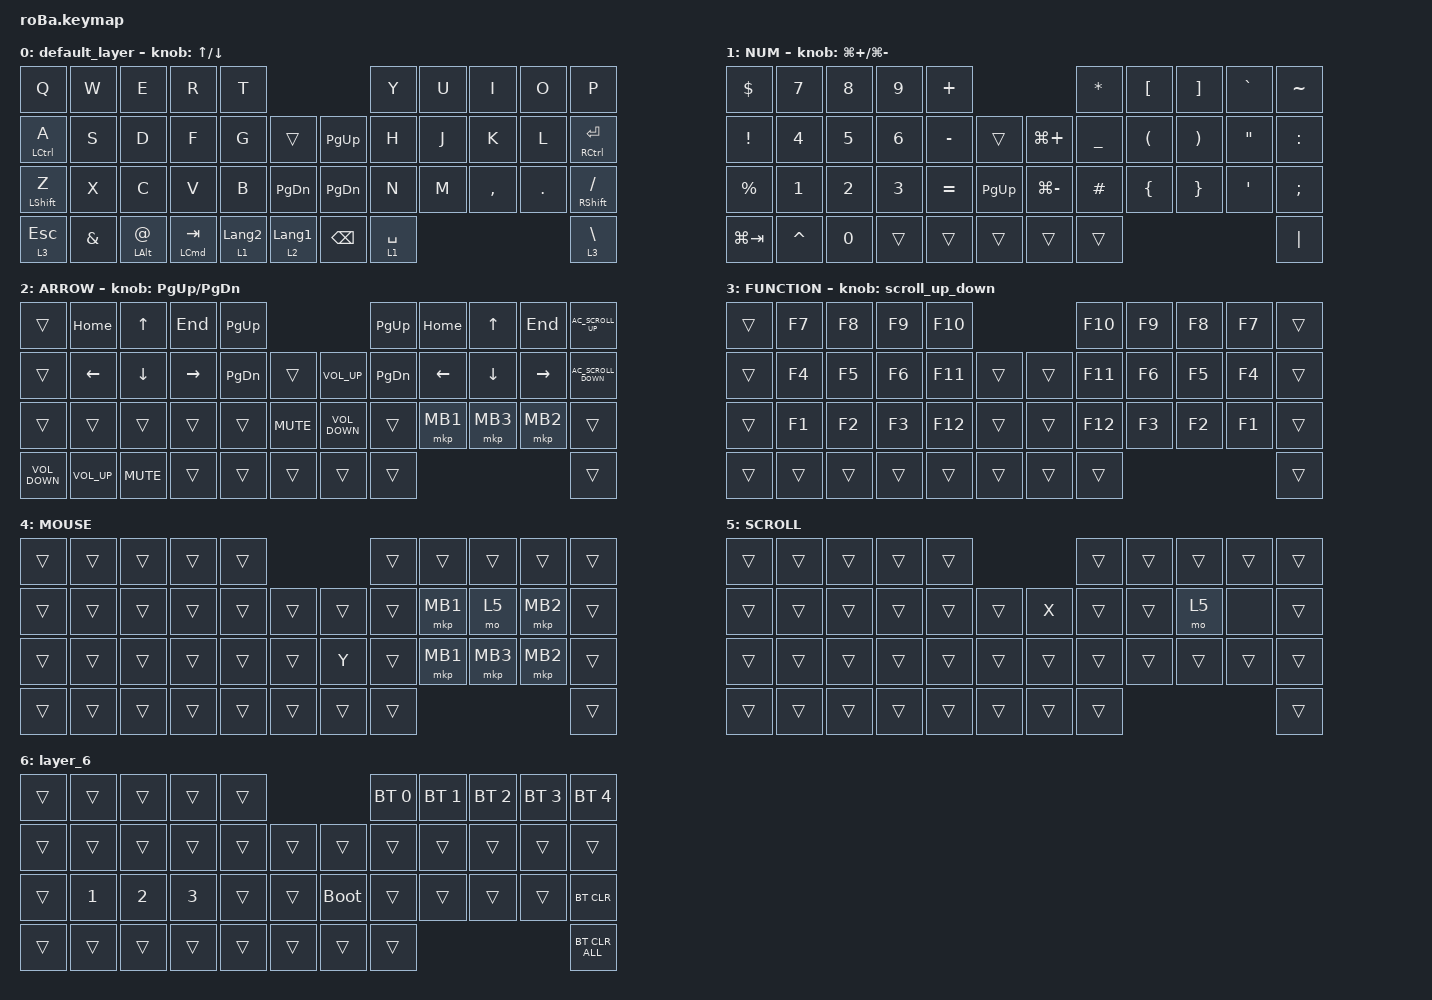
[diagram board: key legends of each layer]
#include <behaviors.dtsi>
#include <dt-bindings/zmk/bt.h>
#include <dt-bindings/zmk/keys.h>
#include <dt-bindings/zmk/pointing.h>

#define MOUSE 4
#define SCROLL 5
#define NUM 6

// #includeのあとのあたりにスクロール量を変更

#define ZMK_MOUSE_DEFAULT_SCRL_VAL 100

// 設定したいレイヤー

&mt {
    flavor = "balanced";
    quick-tap-ms = <0>;
};

/ {
    combos {
        compatible = "zmk,combos";

        tab {
            bindings = <&kp TAB>;
            key-positions = <11 12>;
        };

        shift_tab {
            bindings = <&kp LS(TAB)>;
            key-positions = <12 13>;
        };

        muhennkann {
            bindings = <&to_layer_0 INT_MUHENKAN>;
            key-positions = <11 10>;
        };

        double_quotation {
            bindings = <&kp DOUBLE_QUOTES>;
            key-positions = <20 21>;
        };

        eq {
            bindings = <&kp EQUAL>;
            key-positions = <24 25>;
        };

        emoji {
            bindings = <&kp LG(LC(SPACE))>;
            key-positions = <38 41>;
        };

        screenshot {
            bindings = <&kp LG(DOLLAR)>;
            key-positions = <39 40>;
        };
    };

    macros {
        to_layer_0: to_layer_0 {
            compatible = "zmk,behavior-macro-one-param";
            #binding-cells = <1>;
            bindings = <&to 0 &macro_param_1to1 &kp MACRO_PLACEHOLDER>;
            label = "TO_LAYER_0";
        };
    };

    behaviors {
        lt_to_layer_0: lt_to_layer_0 {
            compatible = "zmk,behavior-hold-tap";
            label = "LAYER_TAP_TO_0";
            bindings = <&mo>, <&to_layer_0>;

            #binding-cells = <2>;
            tapping-term-ms = <200>;
        };

        //  behaviors に追加
        // 新しいスクロール動作の追加

        scroll_up_down: behavior_sensor_rotate_mouse_wheel_up_down {
            compatible = "zmk,behavior-sensor-rotate";
            #sensor-binding-cells = <0>;
            bindings = <&msc SCRL_UP>, <&msc SCRL_DOWN>;

            // 追加: スクロールのタップ時間を設定 (20ms)

            tap-ms = <20>;
        };
    };

    keymap {
        compatible = "zmk,keymap";

        default_layer {
            bindings = <
&kp Q               &kp W          &kp E            &kp R                 &kp T                                                  &kp Y        &kp U  &kp I      &kp O    &kp P
&mt LEFT_CONTROL A  &kp S          &kp D            &kp F                 &kp G             &trans                &kp PAGE_UP    &kp H        &kp J  &kp K      &kp L    &mt RIGHT_CONTROL ENTER
&mt LEFT_SHIFT Z    &kp X          &kp C            &kp V                 &kp B             &kp PAGE_DOWN         &kp PAGE_DOWN  &kp N        &kp M  &kp COMMA  &kp DOT  &mt RIGHT_SHIFT SLASH
&lt 3 ESC           &kp AMPERSAND  &mt LEFT_ALT AT  &mt LEFT_COMMAND TAB  &lt 1 LANGUAGE_2  &lt 2 LANGUAGE_1      &kp BACKSPACE  &lt 1 SPACE                             &lt 3 BACKSLASH
            >;

            sensor-bindings = <&inc_dec_kp UP_ARROW DOWN_ARROW>;
        };

        NUM {
            bindings = <
&kp DOLLAR   &kp N7        &kp N8  &kp N9  &kp PLUS                                   &kp ASTRK       &kp LEFT_BRACKET      &kp RIGHT_BRACKET      &kp GRAVE          &kp TILDE
&kp EXCL     &kp N4        &kp N5  &kp N6  &kp MINUS  &trans           &kp LG(PLUS)   &kp UNDERSCORE  &kp LEFT_PARENTHESIS  &kp RIGHT_PARENTHESIS  &kp DOUBLE_QUOTES  &kp COLON
&kp PERCENT  &kp NUMBER_1  &kp N2  &kp N3  &kp EQUAL  &kp PAGE_UP      &kp LG(MINUS)  &kp HASH        &kp LEFT_BRACE        &kp RIGHT_BRACE        &kp SINGLE_QUOTE   &kp SEMICOLON
&kp LG(TAB)  &kp CARET     &kp N0  &trans  &trans     &trans           &trans         &trans                                                                          &kp PIPE
            >;

            sensor-bindings = <&inc_dec_kp LG(PLUS) LG(MINUS)>;
        };

        ARROW {
            bindings = <
&trans             &kp HOME         &kp UP_ARROW    &kp END          &kp PAGE_UP                                       &kp PAGE_UP    &kp HOME        &kp UP_ARROW  &kp END    &kp C_AC_SCROLL_UP
&trans             &kp LEFT_ARROW   &kp DOWN_ARROW  &kp RIGHT_ARROW  &kp PAGE_DOWN  &trans          &kp C_VOLUME_UP    &kp PAGE_DOWN  &kp LEFT_ARROW  &kp DOWN      &kp RIGHT  &kp C_AC_SCROLL_DOWN
&trans             &trans           &trans          &trans           &trans         &kp K_MUTE      &kp C_VOLUME_DOWN  &trans         &mkp MB1        &mkp MB3      &mkp MB2   &trans
&kp C_VOLUME_DOWN  &kp C_VOLUME_UP  &kp K_MUTE      &trans           &trans         &trans          &trans             &trans                                                  &trans
            >;

            sensor-bindings = <&inc_dec_kp PAGE_UP PAGE_DOWN>;
        };

        FUNCTION {
            bindings = <
&trans  &kp F7  &kp F8  &kp F9  &kp F10                      &kp F10  &kp F9  &kp F8  &kp F7  &trans
&trans  &kp F4  &kp F5  &kp F6  &kp F11  &trans      &trans  &kp F11  &kp F6  &kp F5  &kp F4  &trans
&trans  &kp F1  &kp F2  &kp F3  &kp F12  &trans      &trans  &kp F12  &kp F3  &kp F2  &kp F1  &trans
&trans  &trans  &trans  &trans  &trans   &trans      &trans  &trans                           &trans
            >;

            sensor-bindings = <&scroll_up_down>;
        };

        MOUSE {
            bindings = <
&trans  &trans  &trans  &trans  &trans                      &trans  &trans    &trans    &trans    &trans
&trans  &trans  &trans  &trans  &trans  &trans      &trans  &trans  &mkp MB1  &mo 5     &mkp MB2  &trans
&trans  &trans  &trans  &trans  &trans  &trans      &kp Y   &trans  &mkp MB1  &mkp MB3  &mkp MB2  &trans
&trans  &trans  &trans  &trans  &trans  &trans      &trans  &trans                                &trans
            >;
        };

        SCROLL {
            bindings = <
&trans  &trans  &trans  &trans  &trans                      &trans  &trans  &trans  &trans  &trans
&trans  &trans  &trans  &trans  &trans  &trans      &kp X   &trans  &trans  &mo 5   &none   &trans
&trans  &trans  &trans  &trans  &trans  &trans      &trans  &trans  &trans  &trans  &trans  &trans
&trans  &trans  &trans  &trans  &trans  &trans      &trans  &trans                          &trans
            >;
        };

        layer_6 {
            bindings = <
&trans  &trans        &trans        &trans        &trans                           &bt BT_SEL 0  &bt BT_SEL 1  &bt BT_SEL 2  &bt BT_SEL 3  &bt BT_SEL 4
&trans  &trans        &trans        &trans        &trans  &trans      &trans       &trans        &trans        &trans        &trans        &trans
&trans  &kp NUMBER_1  &kp NUMBER_2  &kp NUMBER_3  &trans  &trans      &bootloader  &trans        &trans        &trans        &trans        &bt BT_CLR
&trans  &trans        &trans        &trans        &trans  &trans      &trans       &trans                                                  &bt BT_CLR_ALL
            >;
        };
    };
};
